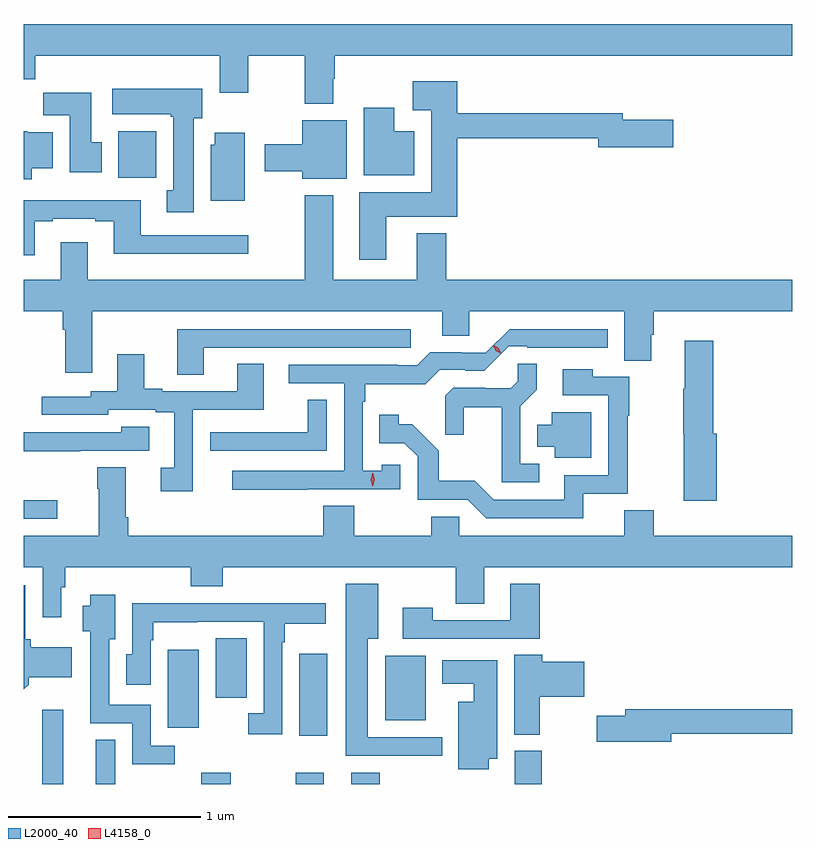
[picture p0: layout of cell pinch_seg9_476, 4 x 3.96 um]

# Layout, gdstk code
import gdstk
lib = gdstk.Library(unit=1e-6, precision=1e-09)
def R(c, l, rs):  # rectangles x0, y0, x1, y1
    for r in rs: c.add(gdstk.rectangle(r[:2], r[2:], *l))
def P(c, l, *ps):  # polygons
    for p in ps: c.add(gdstk.Polygon(p, *l))
L2000_40 = (2000, 40)
L4158_0 = (4158, 0)

pinch_seg9_476 = lib.new_cell('pinch_seg9_476')
R(pinch_seg9_476, L2000_40, [(382.007,1201.952,382.117,1202.338), (382.286,1201.952,382.387,1202.183), (382.834,1201.952,382.989,1202.011), (383.326,1201.952,383.473,1202.011), (383.615,1201.952,383.763,1202.011), (384.467,1201.952,384.608,1202.124), (383.345,1202.202,383.491,1202.629), (382.661,1202.244,382.822,1202.65), (383.792,1202.285,384.004,1202.62), (382.91,1202.4,383.071,1202.711), (381.911,1203.333,382.084,1203.429), (382.403,1205.108,382.6,1205.35)])
P(pinch_seg9_476, L2000_40, [(383.521,1205.624),(383.529,1205.624),(383.529,1205.744),(385.911,1205.744),(385.911,1205.908),(381.911,1205.908),(381.911,1205.62),(381.971,1205.62),(381.971,1205.744),(382.931,1205.744),(382.931,1205.55),(383.079,1205.55),(383.079,1205.744),(383.374,1205.744),(383.374,1205.492),(383.521,1205.492)],
  [(383.797,1204.904),(384.167,1204.904),(384.167,1205.314),(384.902,1205.314),(384.902,1205.267),(385.291,1205.267),(385.291,1205.409),(385.03,1205.409),(385.03,1205.443),(384.167,1205.443),(384.167,1205.611),(383.937,1205.611),(383.937,1205.459),(384.032,1205.459),(384.032,1205.032),(383.657,1205.032),(383.657,1204.68),(383.797,1204.68)],
  [(382.795,1205.418),(382.84,1205.418),(382.84,1205.572),(382.371,1205.572),(382.371,1205.438),(382.675,1205.438),(382.675,1205.425),(382.688,1205.425),(382.688,1205.042),(382.655,1205.042),(382.655,1204.929),(382.795,1204.929)],
  [(382.318,1205.292),(382.261,1205.292),(382.261,1205.551),(382.012,1205.551),(382.012,1205.432),(382.151,1205.432),(382.151,1205.136),(382.318,1205.136)],
  [(383.944,1205.35),(383.839,1205.35),(383.839,1205.473),(383.681,1205.473),(383.681,1205.12),(383.944,1205.12)],
  [(383.593,1205.407),(383.36,1205.407),(383.36,1205.283),(383.166,1205.283),(383.166,1205.141),(383.36,1205.141),(383.36,1205.102),(383.593,1205.102)],
  [(381.952,1205.156),(382.063,1205.156),(382.063,1205.344),(381.93,1205.344),(381.93,1205.35),(381.911,1205.35),(381.911,1205.099),(381.952,1205.099)],
  [(383.062,1205.341),(382.904,1205.341),(382.904,1205.28),(382.883,1205.28),(382.883,1204.988),(383.062,1204.988)],
  [(382.267,1204.412),(384.089,1204.412),(384.089,1204.285),(384.229,1204.285),(384.229,1204.412),(385.037,1204.412),(385.037,1204.156),(385.177,1204.156),(385.177,1204.29),(385.19,1204.29),(385.19,1204.412),(385.911,1204.412),(385.911,1204.576),(384.11,1204.576),(384.11,1204.819),(383.957,1204.819),(383.957,1204.576),(383.521,1204.576),(383.521,1205.017),(383.374,1205.017),(383.374,1204.576),(382.243,1204.576),(382.243,1204.771),(382.103,1204.771),(382.103,1204.576),(381.911,1204.576),(381.911,1204.412),(382.115,1204.412),(382.115,1204.316),(382.127,1204.316),(382.127,1204.092),(382.267,1204.092)],
  [(381.967,1204.881),(382.063,1204.881),(382.063,1204.893),(382.283,1204.893),(382.283,1204.881),(382.379,1204.881),(382.379,1204.712),(383.08,1204.712),(383.08,1204.809),(382.519,1204.809),(382.519,1204.99),(381.911,1204.99),(381.911,1204.704),(381.967,1204.704)],
  [(382.849,1204.224),(383.926,1204.224),(383.926,1204.32),(382.709,1204.32),(382.709,1204.081),(382.849,1204.081)],
  [(383.387,1203.486),(383.871,1203.486),(383.871,1203.615),(383.775,1203.615),(383.775,1203.583),(383.676,1203.583),(383.676,1203.941),(383.689,1203.941),(383.689,1204.034),(384.002,1204.034),(384.075,1204.107),(384.208,1204.107),(384.208,1204.104),(384.309,1204.104),(384.435,1204.23),(384.532,1204.23),(384.532,1204.224),(384.952,1204.224),(384.952,1204.32),(384.44,1204.32),(384.316,1204.196),(384.191,1204.196),(384.191,1204.2),(384.027,1204.2),(383.958,1204.131),(383.858,1204.131),(383.858,1204.134),(383.289,1204.134),(383.289,1204.038),(383.58,1204.038),(383.58,1203.582),(382.995,1203.582),(382.995,1203.484),(383.387,1203.484)],
  [(385.517,1203.774),(385.499,1203.774),(385.499,1204.258),(385.352,1204.258),(385.352,1204.01),(385.345,1204.01),(385.345,1203.774),(385.346,1203.774),(385.346,1203.426),(385.517,1203.426)],
  [(382.791,1203.9),(383.161,1203.9),(383.161,1204.139),(383.021,1204.139),(383.021,1203.996),(382.633,1203.996),(382.633,1204.009),(382.537,1204.009),(382.537,1204.189),(382.397,1204.189),(382.397,1203.996),(382.26,1203.996),(382.26,1203.969),(382.005,1203.969),(382.005,1203.873),(382.35,1203.873),(382.35,1203.9),(382.598,1203.9),(382.598,1203.888),(382.694,1203.888),(382.694,1203.597),(382.623,1203.597),(382.623,1203.477),(382.791,1203.477)],
  [(384.595,1203.618),(384.495,1203.618),(384.495,1203.917),(384.581,1204.003),(384.581,1204.139),(384.483,1204.139),(384.483,1204.048),(384.446,1204.011),(384.312,1204.011),(384.312,1204.014),(384.147,1204.014),(384.106,1203.973),(384.106,1203.771),(384.2,1203.771),(384.2,1203.914),(384.398,1203.914),(384.398,1203.522),(384.595,1203.522)],
  [(384.824,1203.462),(385.055,1203.462),(385.055,1203.868),(385.063,1203.868),(385.063,1204.071),(384.873,1204.071),(384.873,1204.111),(384.717,1204.111),(384.717,1203.975),(384.954,1203.975),(384.954,1203.558),(384.725,1203.558),(384.725,1203.432),(384.357,1203.432),(384.259,1203.531),(384.07,1203.531),(384.07,1203.686),(383.932,1203.824),(383.862,1203.824),(383.862,1203.874),(383.761,1203.874),(383.761,1203.726),(383.892,1203.726),(383.961,1203.657),(383.961,1203.432),(384.222,1203.432),(384.318,1203.336),(384.824,1203.336)],
  [(383.487,1203.953),(383.389,1203.953),(383.389,1203.783),(382.993,1203.783),(382.993,1203.782),(382.881,1203.782),(382.881,1203.687),(383.487,1203.687)],
  [(384.865,1203.886),(384.659,1203.886),(384.659,1203.823),(384.584,1203.823),(384.584,1203.707),(384.674,1203.707),(384.674,1203.65),(384.865,1203.65)],
  [(382.205,1203.687),(382.564,1203.687),(382.564,1203.811),(382.419,1203.811),(382.419,1203.783),(381.911,1203.783),(381.911,1203.685),(382.205,1203.685)],
  [(382.107,1202.977),(382.127,1202.977),(382.127,1203.08),(382.781,1203.08),(382.781,1202.981),(382.946,1202.981),(382.946,1203.08),(384.16,1203.08),(384.16,1202.89),(384.307,1202.89),(384.307,1203.08),(385.911,1203.08),(385.911,1203.244),(385.19,1203.244),(385.19,1203.377),(385.037,1203.377),(385.037,1203.244),(384.177,1203.244),(384.177,1203.342),(384.031,1203.342),(384.031,1203.244),(383.631,1203.244),(383.631,1203.401),(383.471,1203.401),(383.471,1203.244),(382.454,1203.244),(382.454,1203.34),(382.441,1203.34),(382.441,1203.601),(382.294,1203.601),(382.294,1203.488),(382.301,1203.488),(382.301,1203.244),(381.911,1203.244),(381.911,1203.08),(382.011,1203.08),(382.011,1202.82),(382.107,1202.82)],
  [(384.088,1202.196),(383.701,1202.196),(383.701,1202.708),(383.755,1202.708),(383.755,1202.995),(383.588,1202.995),(383.588,1202.099),(384.088,1202.099)],
  [(384.596,1202.995),(384.443,1202.995),(384.443,1202.805),(384.039,1202.805),(384.039,1202.869),(383.883,1202.869),(383.883,1202.709),(384.596,1202.709)],
  [(381.936,1202.469),(381.936,1202.507),(382.162,1202.507),(382.162,1202.665),(381.948,1202.665),(381.948,1202.706),(381.918,1202.706),(381.918,1202.986),(381.911,1202.986),(381.911,1202.444)],
  [(382.696,1202.151),(382.572,1202.151),(382.572,1202.364),(382.357,1202.364),(382.357,1202.705),(382.387,1202.705),(382.387,1202.938),(382.256,1202.938),(382.256,1202.881),(382.217,1202.881),(382.217,1202.747),(382.256,1202.747),(382.256,1202.268),(382.476,1202.268),(382.476,1202.054),(382.696,1202.054)],
  [(383.256,1202.69),(383.269,1202.69),(383.269,1202.786),(383.482,1202.786),(383.482,1202.894),(383.063,1202.894),(383.063,1202.892),(382.697,1202.892),(382.697,1202.894),(382.476,1202.894),(382.476,1202.628),(382.445,1202.628),(382.445,1202.469),(382.572,1202.469),(382.572,1202.699),(382.585,1202.699),(382.585,1202.795),(382.814,1202.795),(382.814,1202.796),(383.16,1202.796),(383.16,1202.319),(383.079,1202.319),(383.079,1202.211),(383.256,1202.211)],
  [(384.598,1202.405),(384.829,1202.405),(384.829,1202.588),(384.611,1202.588),(384.611,1202.624),(384.464,1202.624),(384.464,1202.209),(384.598,1202.209)],
  [(384.331,1202.084),(384.376,1202.084),(384.376,1202.596),(384.089,1202.596),(384.089,1202.474),(384.254,1202.474),(384.254,1202.38),(384.173,1202.38),(384.173,1202.028),(384.331,1202.028)],
  [(385.282,1202.214),(385.911,1202.214),(385.911,1202.342),(385.043,1202.342),(385.043,1202.306),(384.894,1202.306),(384.894,1202.171),(385.282,1202.171)])
P(pinch_seg9_476, L4158_0, [(383.727,1203.501),(383.718,1203.537),(383.727,1203.573),(383.728,1203.573),(383.728,1203.573),(383.737,1203.537),(383.728,1203.501),(383.728,1203.501)],
  [(384.394,1204.194),(384.368,1204.208),(384.356,1204.235),(384.356,1204.235),(384.357,1204.235),(384.383,1204.221),(384.395,1204.194),(384.395,1204.194)])

lib.write_gds('pinch_seg9_476.gds')
